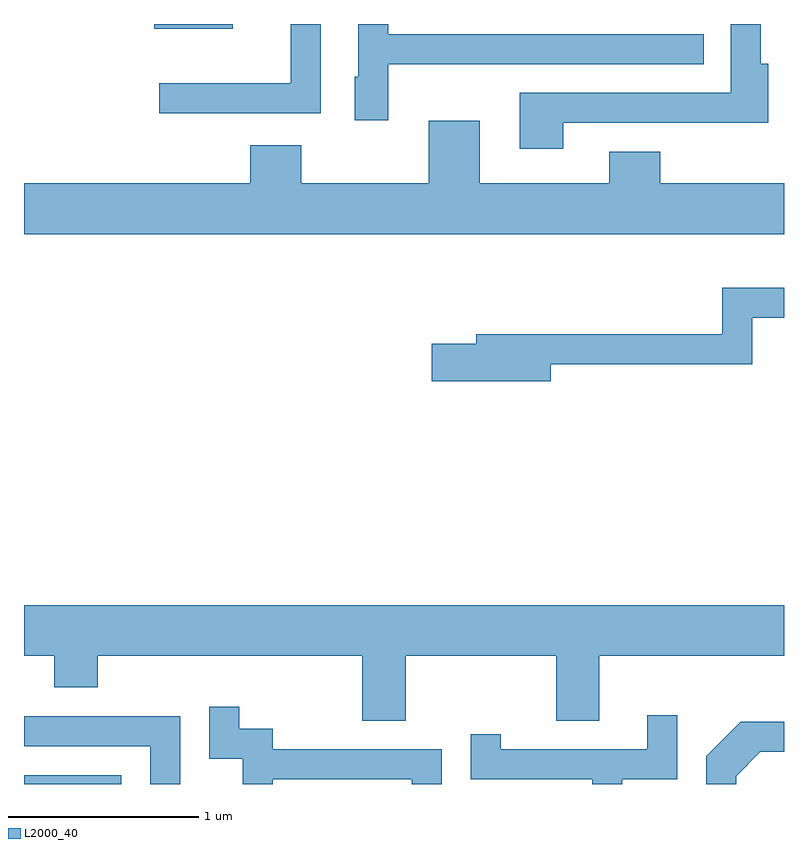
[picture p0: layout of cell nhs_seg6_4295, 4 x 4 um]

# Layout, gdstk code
import gdstk
lib = gdstk.Library(unit=1e-6, precision=1e-09)
def R(c, l, rs):  # rectangles x0, y0, x1, y1
    for r in rs: c.add(gdstk.rectangle(r[:2], r[2:], *l))
def P(c, l, *ps):  # polygons
    for p in ps: c.add(gdstk.Polygon(p, *l))
L2000_40 = (2000, 40)

nhs_seg6_4295 = lib.new_cell('nhs_seg6_4295')
R(nhs_seg6_4295, L2000_40, [(315.611,1638.162,316.124,1638.209), (316.296,1642.136,316.709,1642.162)])
P(nhs_seg6_4295, L2000_40, [(318.449,1641.641),(319.529,1641.641),(319.529,1641.954),(319.489,1641.954),(319.489,1642.162),(319.331,1642.162),(319.331,1641.799),(318.221,1641.799),(318.221,1641.506),(318.449,1641.506)],
  [(317.174,1642.162),(317.016,1642.162),(317.016,1641.849),(316.323,1641.849),(316.323,1641.691),(317.174,1641.691)],
  [(317.529,1641.951),(319.188,1641.951),(319.188,1642.109),(317.529,1642.109),(317.529,1642.162),(317.371,1642.162),(317.371,1641.884),(317.351,1641.884),(317.351,1641.656),(317.529,1641.656)],
  [(319.611,1641.324),(318.959,1641.324),(318.959,1641.489),(318.691,1641.489),(318.691,1641.324),(318.009,1641.324),(318.009,1641.654),(317.741,1641.654),(317.741,1641.324),(317.069,1641.324),(317.069,1641.524),(316.801,1641.524),(316.801,1641.324),(315.611,1641.324),(315.611,1641.056),(319.611,1641.056)],
  [(318.384,1640.371),(319.444,1640.371),(319.444,1640.616),(319.611,1640.616),(319.611,1640.774),(319.286,1640.774),(319.286,1640.529),(317.991,1640.529),(317.991,1640.479),(317.756,1640.479),(317.756,1640.281),(318.384,1640.281)],
  [(317.619,1638.836),(318.411,1638.836),(318.411,1638.496),(318.639,1638.496),(318.639,1638.836),(319.611,1638.836),(319.611,1639.104),(315.611,1639.104),(315.611,1638.836),(315.771,1638.836),(315.771,1638.671),(315.999,1638.671),(315.999,1638.836),(317.391,1638.836),(317.391,1638.496),(317.619,1638.496)],
  [(316.919,1638.186),(317.651,1638.186),(317.651,1638.162),(317.809,1638.162),(317.809,1638.344),(316.919,1638.344),(316.919,1638.454),(316.744,1638.454),(316.744,1638.568),(316.586,1638.568),(316.586,1638.296),(316.761,1638.296),(316.761,1638.162),(316.919,1638.162)],
  [(318.759,1638.186),(319.049,1638.186),(319.049,1638.523),(318.891,1638.523),(318.891,1638.344),(318.119,1638.344),(318.119,1638.423),(317.961,1638.423),(317.961,1638.186),(318.601,1638.186),(318.601,1638.162),(318.759,1638.162)],
  [(316.434,1638.519),(315.611,1638.519),(315.611,1638.361),(316.276,1638.361),(316.276,1638.162),(316.434,1638.162)],
  [(319.359,1638.204),(319.487,1638.331),(319.611,1638.331),(319.611,1638.489),(319.384,1638.489),(319.201,1638.307),(319.201,1638.162),(319.359,1638.162)])

lib.write_gds('nhs_seg6_4295.gds')
